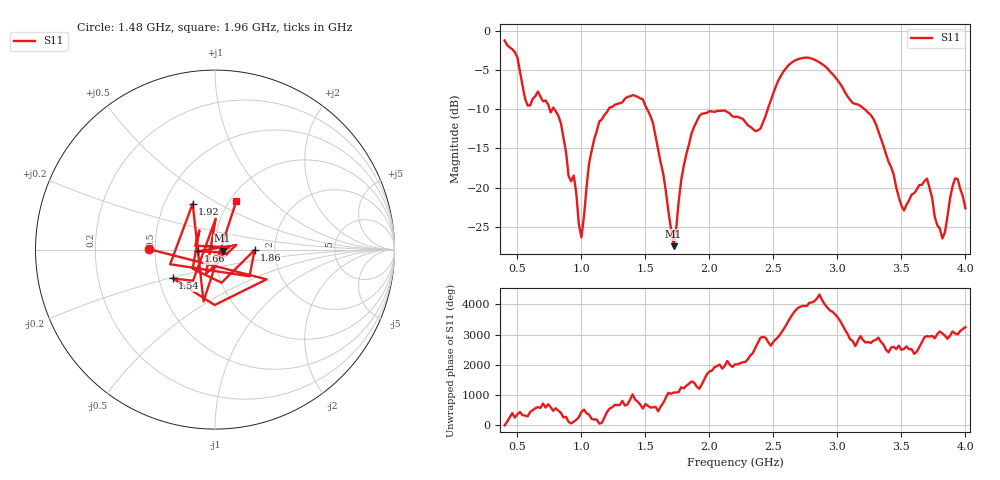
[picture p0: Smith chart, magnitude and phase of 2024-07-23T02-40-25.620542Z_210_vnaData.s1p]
!Created with skrf (http://scikit-rf.org).
# Hz S RI R 50.0
!freq ReS11 ImS11
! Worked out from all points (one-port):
!   181 points, 400 MHz to 4 GHz, reference 50 ohm
!   lowest |S11| = -27.4 dB at 1.72 GHz (marker M1), VSWR 1.09, Z = 54.4 - j0.612 ohm
!   |S11| at or under -10 dB: 788.1 MHz to 1.213 GHz (425.2 MHz wide, 42.5 % of centre); 1.513 GHz to 2.456 GHz (942.6 MHz wide, 47.5 % of centre); 3.211 GHz to end of sweep (the widest 3 of 4)
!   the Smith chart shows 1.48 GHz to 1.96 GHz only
!   S11 on the Smith chart (normalised r, x): 1.48 GHz: 0.47, +0.00; 1.54 GHz: 0.59, -0.21; 1.66 GHz: 0.83, -0.02; 1.86 GHz: 1.57, -0.01; 1.92 GHz: 0.69, +0.38; 1.96 GHz: 1.07, +0.64
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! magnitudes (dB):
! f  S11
! 400 MHz  -1.3
! 500 MHz  -3.4
! 580 MHz  -9.5
! 660 MHz  -7.8
! 860 MHz  -13.6
! 940 MHz  -18.5
! 1 GHz  -26.3
! 1.1 GHz  -13.8
! 1.3 GHz  -9.2
! 1.48 GHz  -8.8
! 1.54 GHz  -10.9
! 1.66 GHz  -20.5
! 1.72 GHz  -27.4
! 1.76 GHz  -21.8
! 1.86 GHz  -13.1
! 1.92 GHz  -10.9
! 1.96 GHz  -10.5
! 2.2 GHz  -11.0
! 2.4 GHz  -12.4
! 2.66 GHz  -3.9
! 3.1 GHz  -8.8
! 3.28 GHz  -11.2
! 3.5 GHz  -22.3
! 3.56 GHz  -21.6
! 3.7 GHz  -18.8
! 3.82 GHz  -26.5
! 3.92 GHz  -18.8
! 4 GHz  -22.6
